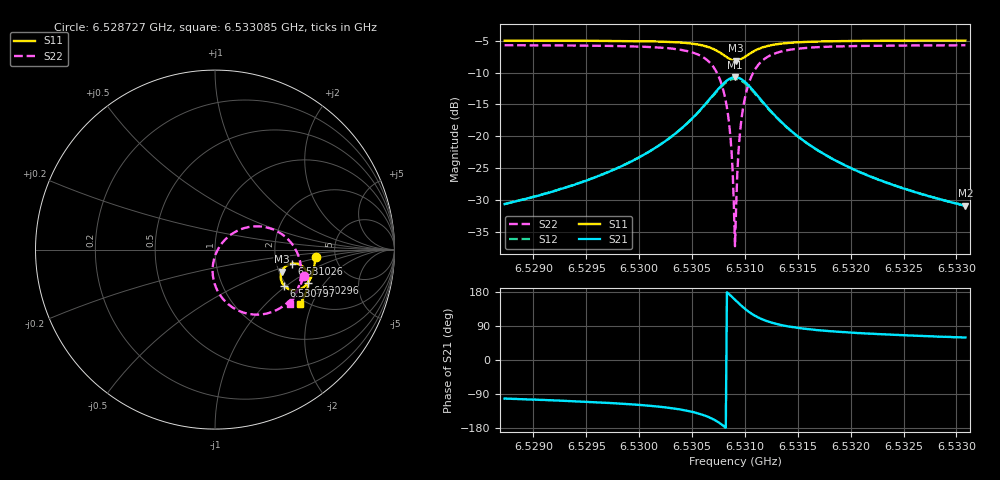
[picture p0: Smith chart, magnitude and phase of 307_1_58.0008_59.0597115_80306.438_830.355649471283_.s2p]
#  HZ  S  RI  R  50.00
! Rohde & Schwarz Vector Network Analyzer
! Rohde-Schwarz,ZNB20-2Port,1311601062101988,3.16
! Created: UTC 3/21/2024, 1:04:02 AM
! freq[Hz]  re:S11  im:S11  re:S21  im:S21  re:S12  im:S12  re:S22  im:S22
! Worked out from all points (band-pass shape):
!   401 points, 6.528727 GHz to 6.533085 GHz, reference 50 ohm
!   highest |S21| = -10.74 dB at 6.530906 GHz (marker M1); lowest = -30.9 dB at 6.533085 GHz (marker M2)
!   |S21| within 3 dB of the highest: 6.530688 GHz to 6.531125 GHz (436.3 kHz wide, 0.00668 % of centre)
!   lowest |S11| = -8.2 dB at 6.530917 GHz (marker M3), VSWR 2.29, Z = 103 - j30 ohm
!   |S11| at or under -10 dB: nowhere
!   |S22| runs from -37.2 to -5.7 dB; largest |S21 - S12| = 0.011
!   S11 on the Smith chart (normalised r, x): 6.528727 GHz: 3.50, -0.45; 6.530296 GHz: 2.59, -1.39; 6.530797 GHz: 1.94, -0.96; 6.531026 GHz: 2.43, -0.47; 6.533085 GHz: 1.84, -1.65
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6.5287271e9  0.56 -0.0437  -0.00606 -0.0288  -0.00663 -0.0289  0.4949 -0.1497
6.5294571e9  0.5511 -0.1037  -0.0147 -0.0412  -0.0157 -0.041  0.4663 -0.2158
6.530187e9  0.5244 -0.1747  -0.0465 -0.071  -0.0484 -0.0699  0.3894 -0.3078
6.530296e9  0.5156 -0.1875  -0.0587 -0.0787  -0.061 -0.0772  0.3633 -0.3258
6.5306337e9  0.4533 -0.2258  -0.1543 -0.0962  -0.1565 -0.0901  0.1828 -0.3571
6.5307318e9  0.4142 -0.2212  -0.2147 -0.0725  -0.2145 -0.0638  0.0795 -0.3087
6.5307971e9  0.3851 -0.2011  -0.2581 -0.0279  -0.254 -0.0186  0.0127 -0.2268
6.5308516e9  0.3683 -0.1698  -0.2798 0.0326  -0.272 0.0403  -0.0135 -0.1226
6.5308734e9  0.3659 -0.1545  -0.2806 0.061  -0.2716 0.0673  -0.0101 -0.0756
6.5308843e9  0.3661 -0.1466  -0.279 0.0754  -0.2694 0.081  -0.00513 -0.052
6.5308952e9  0.367 -0.1386  -0.2759 0.0898  -0.266 0.0945  0.00235 -0.029
6.5309061e9  0.3688 -0.1307  -0.2712 0.104  -0.2613 0.1076  0.0122 -0.00657
6.530917e9  0.3714 -0.1229  -0.2653 0.1176  -0.2554 0.1204  0.0241 0.0147
6.5309497e9  0.3841 -0.1028  -0.2404 0.1535  -0.231 0.1537  0.0709 0.0693
6.5309606e9  0.3894 -0.0972  -0.2301 0.1633  -0.2211 0.1628  0.0892 0.0839
6.5309932e9  0.4077 -0.0846  -0.1965 0.1854  -0.189 0.1836  0.1482 0.115
6.5310259e9  0.4269 -0.0783  -0.1617 0.1971  -0.1561 0.1944  0.2074 0.1285
6.5311022e9  0.4658 -0.0816  -0.0938 0.1953  -0.0907 0.1927  0.3219 0.113
6.5312111e9  0.4988 -0.1041  -0.0362 0.1653  -0.0347 0.164  0.4152 0.0485
6.531636e9  0.5211 -0.1799  0.0138 0.0819  0.0149 0.0816  0.4796 -0.1284
6.532366e9  0.5015 -0.2523  0.0166 0.0394  0.0173 0.0391  0.4524 -0.2431
6.533085e9  0.4739 -0.3054  0.0145 0.0247  0.0151 0.0243  0.4174 -0.3047
